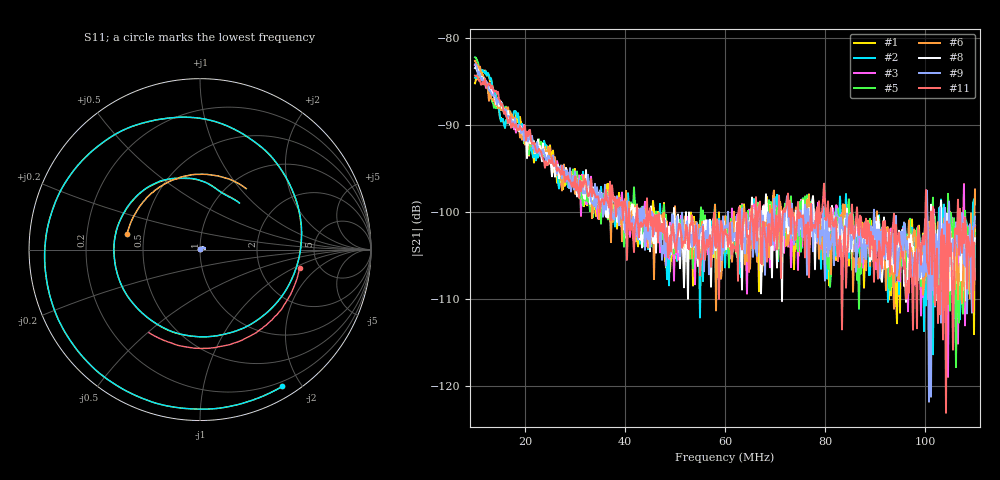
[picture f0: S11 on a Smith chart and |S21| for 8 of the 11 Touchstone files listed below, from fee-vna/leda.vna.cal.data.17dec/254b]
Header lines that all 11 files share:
! Anritsu VNA Master:  Model: MS2036C/10/77
! SN:  1601066
! Existing Calibration Information:
! TYPE:  Current Settings,  Active Cal Settings
! # POINTS:  501,  501
! START FREQ:  10.000 MHz,  10.000 MHz
! STOP FREQ:  110.000 MHz,  110.000 MHz
! SOURCE POWER:  High,  High
! IFBW:  100 Hz,  100 Hz
! AVG FACTOR:  1 ,  1
! REF PLANE 1:  0 mm,  0 mm
! REF PLANE 2:  0 mm,  0 mm
! CAL TYPE:  Full S11,  Full S11
! CAL METHOD:  SOLT,  SOLT
! CAL LINE TYPE:  Coax,  Coax
! DUT PORT 1:  N-Conn(F),  N-Conn(F)
! DUT PORT 2:  K-Conn(F),  K-Conn(F)
! CAL STATUS:  OK: Accuracy High,  --
# GHZ S DB R 50.0
! FREQ.GHZ  S11DB  S11A  S21DB  S21A  S12DB  S12A  S22DB  S22A
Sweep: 10 MHz to 110 MHz
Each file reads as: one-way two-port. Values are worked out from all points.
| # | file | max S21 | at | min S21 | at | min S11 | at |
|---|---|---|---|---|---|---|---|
| 1 | 254.ns.sma.me2.s2p | -83.73 dB | 12 MHz | -116.6 dB | 106.2 MHz | -9.0 dB | 105.4 MHz |
| 2 | 254.ns.sma.me3.s2p | -83.66 dB | 11.2 MHz | -116.4 dB | 101.6 MHz | -9.1 dB | 105.6 MHz |
| 3 | 254.ns.sma.r0.32.s2p | -83.13 dB | 10 MHz | -119.0 dB | 104.6 MHz | -44.2 dB | 10 MHz |
| 4 | 254.ns.sma.r20.12.s2p | -82.03 dB | 10.2 MHz | -119.9 dB | 103 MHz | -64.9 dB | 10 MHz |
| 5 | 254.ns.sma.r20.21.s2p | -82.23 dB | 10 MHz | -117.9 dB | 106.2 MHz | -7.3 dB | 26.8 MHz |
| 6 | 254.ns.sma.r20.22.s2p | -82.65 dB | 10 MHz | -111.3 dB | 58.2 MHz | -7.3 dB | 35 MHz |
| 7 | 254.ns.sma.r20.31.s2p | -82.22 dB | 10.2 MHz | -118.4 dB | 106.8 MHz | -7.3 dB | 27.2 MHz |
| 8 | 254.ns.sma.r50.21.s2p | -83.32 dB | 10.2 MHz | -113.2 dB | 101 MHz | -44.9 dB | 10.2 MHz |
| 9 | 254.ns.sma.r50.22.s2p | -83.02 dB | 10 MHz | -121.8 dB | 100.8 MHz | -44.6 dB | 10.2 MHz |
| 10 | 254.ns.sma.r200.11.s2p | -84.24 dB | 10 MHz | -121.9 dB | 109.8 MHz | -51.8 dB | 10 MHz |
| 11 | 254.ns.sma.r200.21.s2p | -84.33 dB | 10.4 MHz | -123.1 dB | 104.2 MHz | -4.9 dB | 105.6 MHz |
